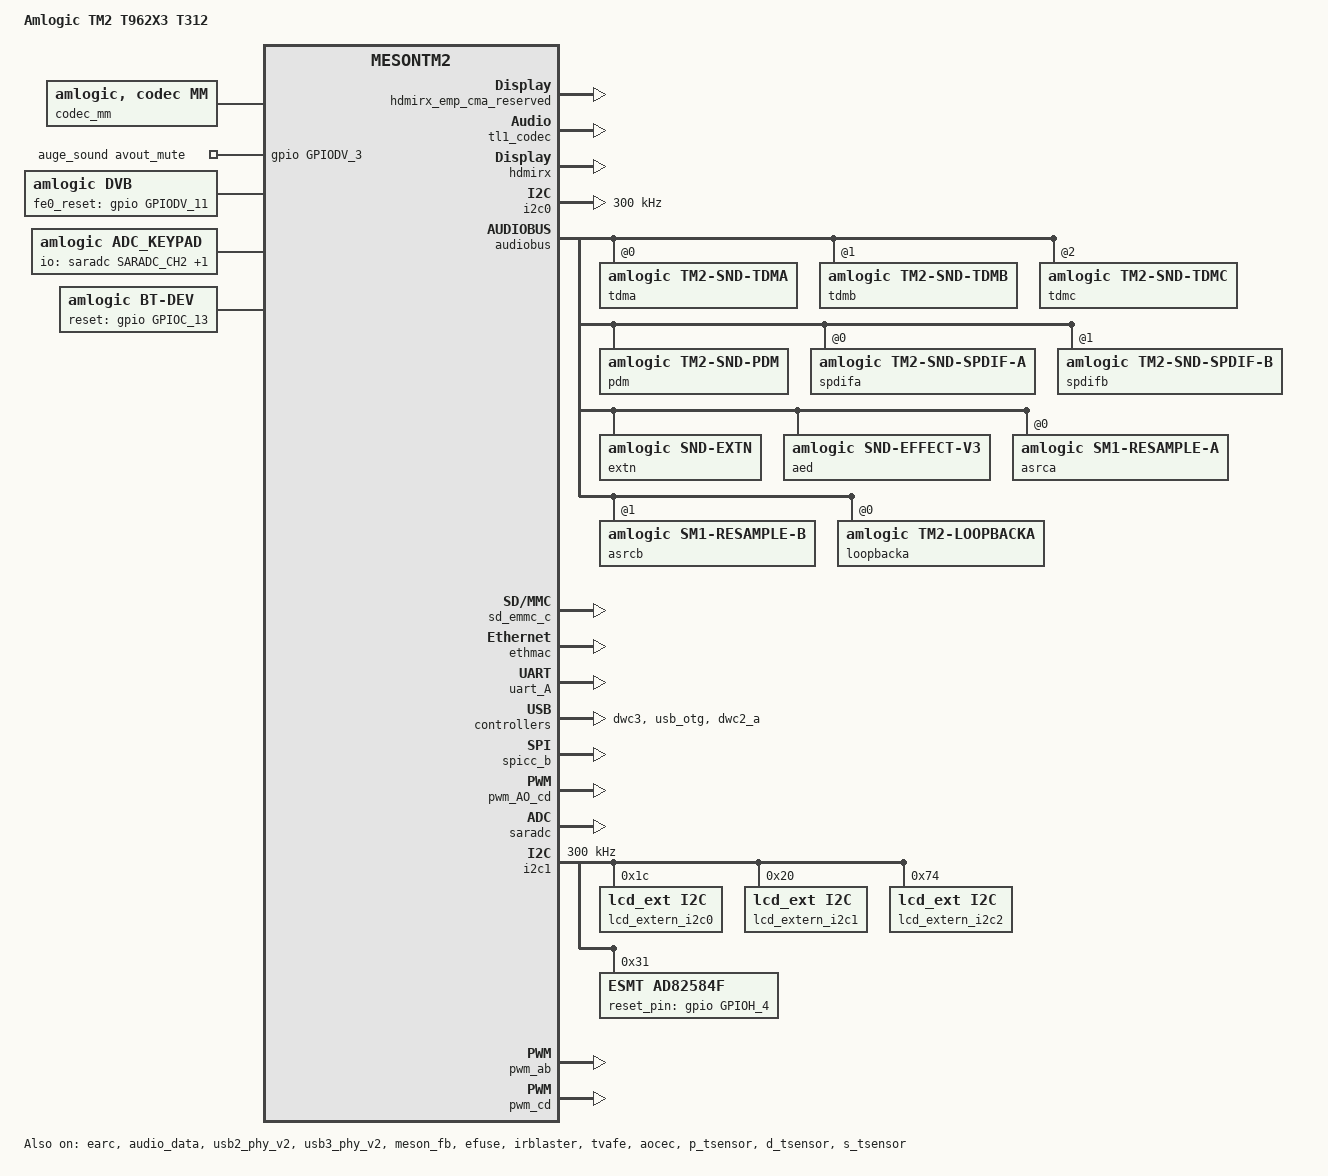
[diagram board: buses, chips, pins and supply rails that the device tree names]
/*
 * arch/arm/boot/dts/amlogic/tm2_t962x3_ab301.dts
 *
 * Copyright (C) 2017 Amlogic, Inc. All rights reserved.
 *
 * This program is free software; you can redistribute it and/or modify
 * it under the terms of the GNU General Public License as published by
 * the Free Software Foundation; either version 2 of the License, or
 * (at your option) any later version.
 *
 * This program is distributed in the hope that it will be useful, but WITHOUT
 * ANY WARRANTY; without even the implied warranty of MERCHANTABILITY or
 * FITNESS FOR A PARTICULAR PURPOSE.  See the GNU General Public License for
 * more details.
 *
 */

/dts-v1/;

#include "mesontm2.dtsi"
#include "partition_mbox_normal.dtsi"
#include "mesontm2_t962x3_t312-panel.dtsi"

/ {
	model = "Amlogic TM2 T962X3 T312";
	amlogic-dt-id = "tm2_t962x3_t312";
	compatible = "amlogic, tm2_t962x3_t312";

	aliases {
		serial0 = &uart_AO;
		serial1 = &uart_A;
		serial2 = &uart_B;
		serial3 = &uart_C;
		serial4 = &uart_AO_B;
		tsensor0 = &p_tsensor;
		tsensor1 = &d_tsensor;
		tsensor2 = &s_tsensor;
		i2c0 = &i2c0;
		i2c1 = &i2c1;
		i2c2 = &i2c2;
		i2c3 = &i2c3;
		i2c4 = &i2c_AO;
		spi0 = &spicc0;
		spi1 = &spicc_b;
	};

	memory@00000000 {
		device_type = "memory";
		linux,usable-memory = <0x0 0x80000000>;
	};

	reserved-memory {
		#address-cells = <1>;
		#size-cells = <1>;
		ranges;
		/* global autoconfigured region for contiguous allocations */
		ramoops@0x07400000 {
			compatible = "ramoops";
			reg = <0x07400000 0x00100000>;
			record-size = <0x8000>;
			console-size = <0x8000>;
			ftrace-size = <0x40000>;
		};

		secmon_reserved: linux,secmon {
			compatible = "shared-dma-pool";
			reusable;
			size = <0x400000>;
			alignment = <0x400000>;
			alloc-ranges = <0x05000000 0x400000>;
		};

		logo_reserved:linux,meson-fb {
			compatible = "shared-dma-pool";
			reusable;
			size = <0x800000>;
			alignment = <0x400000>;
			alloc-ranges = <0x7f800000 0x800000>;
		};

		lcd_tcon_reserved:linux,lcd_tcon {
			compatible = "shared-dma-pool";
			reusable;
			size = <0xc00000>;
			alignment = <0x400000>;
			alloc-ranges = <0x7ec00000 0xc00000>;
		};

		codec_mm_cma:linux,codec_mm_cma {
			compatible = "shared-dma-pool";
			reusable;
			/* ion_codec_mm max can alloc size 80M*/
			size = <0x13400000>;
			alignment = <0x400000>;
			linux,contiguous-region;
			alloc-ranges = <0x30000000 0x50000000>;
		};

		/* codec shared reserved */
		codec_mm_reserved:linux,codec_mm_reserved {
			compatible = "amlogic, codec-mm-reserved";
			size = <0x0>;
			alignment = <0x100000>;
			//no-map;
		};

		ion_cma_reserved:linux,ion-dev {
			compatible = "shared-dma-pool";
			reusable;
			size = <0x2000000>;
			alignment = <0x400000>;
		};

		/*  vdin0 CMA pool */
		//vdin0_cma_reserved:linux,vdin0_cma {
		//	compatible = "shared-dma-pool";
		//	reusable;
			/* 3840x2160x4x4 ~=128 M */
		//	size = <0xc400000>;
		//	alignment = <0x400000>;
		//};

		/*  vdin1 CMA pool */
		vdin1_cma_reserved:linux,vdin1_cma {
			compatible = "shared-dma-pool";
			reusable;
			/* 1920x1080x2x4  =16 M */
			size = <0x1400000>;
			alignment = <0x400000>;
		};

		/*demod_reserved:linux,demod {
		 *	compatible = "amlogic, demod-mem";
		 *	size = <0x800000>; //8M //100m 0x6400000
		 *	alloc-ranges = <0x0 0x30000000>;
		 *	//multi-use;
		 *	//no-map;
		 *};
		 */

		demod_cma_reserved:linux,demod_cma {
			compatible = "shared-dma-pool";
			reusable;
			/* 8M */
			size = <0x0800000>;
			alignment = <0x400000>;
		};

		/*di CMA pool */
		di_cma_reserved:linux,di_cma {
			compatible = "shared-dma-pool";
			reusable;
			/* buffer_size = 3621952(yuv422 8bit)
			 *  | 4736064(yuv422 10bit)
			 *  | 4074560(yuv422 10bit full pack mode)
			 * 10x3621952=34.6M(0x23) support 8bit
			 * 10x4736064=45.2M(0x2e) support 12bit
			 * 10x4074560=40M(0x28) support 10bit
			 */
			size = <0x02800000>;
			alignment = <0x400000>;
		};

		/* for hdmi rx emp use */
		hdmirx_emp_cma_reserved:linux,emp_cma {
			compatible = "shared-dma-pool";
			/*linux,phandle = <5>;*/
			reusable;
			/* 4M for emp to ddr */
			/* 32M for tmds to ddr */
			size = <0x400000>;
			alignment = <0x400000>;
			/* alloc-ranges = <0x400000 0x2000000>; */
		};

		/* POST PROCESS MANAGER */
		ppmgr_reserved:linux,ppmgr {
			compatible = "amlogic, ppmgr_memory";
			size = <0x0>;
		};

		picdec_cma_reserved:linux,picdec {
			compatible = "shared-dma-pool";
			reusable;
			size = <0x0>;
			alignment = <0x0>;
			linux,contiguous-region;
		};
		dsp_fw_reserved:linux,dsp_fw {
			compatible = "shared-dma-pool";
			reusable;
			size = <0x01000000>;
			alignment = <0x00400000>;
			alloc-ranges = <0x30000000 0x01000000>;
		};
	}; /* end of reserved-memory */
	galcore {
		status = "okay";
	};
	codec_mm {
		compatible = "amlogic, codec, mm";
		status = "okay";
		memory-region = <&codec_mm_cma &codec_mm_reserved>;
	};

	picdec {
		compatible = "amlogic, picdec";
		memory-region = <&picdec_cma_reserved>;
		dev_name = "picdec";
		status = "okay";
	};

	ppmgr {
		compatible = "amlogic, ppmgr";
		memory-region = <&ppmgr_reserved>;
		status = "okay";
	};

	deinterlace {
		compatible = "amlogic, deinterlace";
		status = "okay";
		/* 0:use reserved; 1:use cma; 2:use cma as reserved */
		flag_cma = <1>;
		//memory-region = <&di_reserved>;
		memory-region = <&di_cma_reserved>;
		interrupts = <0 46 1
				0 40 1>;
		interrupt-names = "pre_irq", "post_irq";
		clocks = <&clkc CLKID_VPU_CLKB_TMP_COMP>,
			<&clkc CLKID_VPU_CLKB_COMP>;
		clock-names = "vpu_clkb_tmp_composite",
			"vpu_clkb_composite";
		clock-range = <334 667>;
		/* buffer-size = <3621952>;(yuv422 8bit) */
		buffer-size = <4074560>;/*yuv422 fullpack*/
		/* reserve-iomap = "true"; */
		/* if enable nr10bit, set nr10bit-support to 1 */
		post-wr-support = <1>;
		nr10bit-support = <1>;
		nrds-enable = <1>;
		pps-enable = <1>;
	};

	vout {
		compatible = "amlogic, vout";
		status = "okay";
		fr_auto_policy = <0>;
	};

	/* Audio Related start */
	pdm_codec:dummy {
		#sound-dai-cells = <0>;
		compatible = "amlogic, pdm_dummy_codec";
		status = "okay";
	};

	dummy_codec:dummy {
		#sound-dai-cells = <0>;
		compatible = "amlogic, aml_dummy_codec";
		status = "okay";
	};

	tl1_codec:codec {
		#sound-dai-cells = <0>;
		compatible = "amlogic, tl1_acodec";
		status = "okay";
		reg = <0xff632000 0x1c>;
		tdmout_index = <0>;
		tdmin_index = <0>;
		dat1_ch_sel = <1>;
	};

	auge_sound {
		compatible = "amlogic, tm2-sound-card";
		aml-audio-card,name = "AML-AUGESOUND";

		avout_mute-gpios = <&gpio GPIODV_3 GPIO_ACTIVE_HIGH>;

		aml-audio-card,dai-link@0 {
			format = "i2s";
			mclk-fs = <256>;
			continuous-clock;
			//bitclock-inversion;
			//frame-inversion;
			/* master mode */
			bitclock-master = <&tdma>;
			frame-master = <&tdma>;
			/* slave mode */
			/*
			 * bitclock-master = <&tdmacodec>;
			 * frame-master = <&tdmacodec>;
			 */
			/* suffix-name, sync with android audio hal used for */
			suffix-name = "alsaPORT-i2s";
			tdmacpu: cpu {
				sound-dai = <&tdma>;
				dai-tdm-slot-tx-mask =
							<1 1>;
				dai-tdm-slot-rx-mask =
							<1 1>;
				dai-tdm-slot-num = <2>;
				dai-tdm-slot-width = <32>;
				system-clock-frequency = <12288000>;
			};
			tdmacodec: codec {
				//sound-dai = <&dummy_codec>;
				prefix-names = "AMP";
				sound-dai = <&ad82584f &tl1_codec>;
			};
		};

		aml-audio-card,dai-link@1 {
			format = "i2s";
			mclk-fs = <256>;
			//continuous-clock;
			//bitclock-inversion;
			//frame-inversion;
			/* master mode */
			bitclock-master = <&tdmb>;
			frame-master = <&tdmb>;
			/* slave mode */
			//bitclock-master = <&tdmbcodec>;
			//frame-master = <&tdmbcodec>;
			/* suffix-name, sync with android audio hal used for */
			suffix-name = "alsaPORT-pcm";
			cpu {
				sound-dai = <&tdmb>;
				dai-tdm-slot-tx-mask = <1 1>;
				dai-tdm-slot-rx-mask = <1 1>;
				dai-tdm-slot-num = <2>;
				/*
				 * dai-tdm-slot-tx-mask =
				 *	<1 1 1 1 1 1 1 1>;
				 * dai-tdm-slot-rx-mask =
				 *	<1 1 1 1 1 1 1 1>;
				 * dai-tdm-slot-num = <8>;
				 */
				dai-tdm-slot-width = <32>;
				system-clock-frequency = <12288000>;
			};
			tdmbcodec: codec {
				sound-dai = <&dummy_codec>;
			};
		};

		aml-audio-card,dai-link@2 {
			format = "i2s";
			mclk-fs = <256>;
			//continuous-clock;
			//bitclock-inversion;
			//frame-inversion;
			/* master mode */
			bitclock-master = <&tdmc>;
			frame-master = <&tdmc>;
			/* slave mode */
			//bitclock-master = <&tdmccodec>;
			//frame-master = <&tdmccodec>;
			/* suffix-name, sync with android audio hal used for */
			//suffix-name = "alsaPORT-tdm";
			cpu {
				sound-dai = <&tdmc>;
				dai-tdm-slot-tx-mask = <1 1>;
				dai-tdm-slot-rx-mask = <1 1>;
				dai-tdm-slot-num = <2>;
				dai-tdm-slot-width = <32>;
				system-clock-frequency = <12288000>;
			};
			tdmccodec: codec {
				sound-dai = <&dummy_codec>;
			};
		};

		aml-audio-card,dai-link@3 {
			mclk-fs = <64>;
			/* suffix-name, sync with android audio hal used for */
			suffix-name = "alsaPORT-pdm";
			cpu {
				sound-dai = <&pdm>;
			};
			codec {
				sound-dai = <&pdm_codec>;
			};
		};

		aml-audio-card,dai-link@4 {
			mclk-fs = <128>;
			continuous-clock;
			/* suffix-name, sync with android audio hal used for */
			suffix-name = "alsaPORT-spdif";
			cpu {
				sound-dai = <&spdifa>;
				system-clock-frequency = <6144000>;
			};
			codec {
				sound-dai = <&dummy_codec>;
			};
		};

		aml-audio-card,dai-link@5 {
			mclk-fs = <128>;
			suffix-name = "alsaPORT-spdifb";
			cpu {
				sound-dai = <&spdifb>;
				system-clock-frequency = <6144000>;
			};
			codec {
				sound-dai = <&dummy_codec>;
			};
		};

		aml-audio-card,dai-link@6 {
			mclk-fs = <256>;
			suffix-name = "alsaPORT-tv";
			cpu {
				sound-dai = <&extn>;
				system-clock-frequency = <12288000>;
			};
			codec {
				sound-dai = <&dummy_codec>;
			};
		};

		aml-audio-card,dai-link@7 {
			mclk-fs = <256>;
			suffix-name = "alsaPORT-earc";
			cpu {
				sound-dai = <&earc>;
				system-clock-frequency = <12288000>;
			};
			codec {
				sound-dai = <&dummy_codec>;
			};
		};

		aml-audio-card,dai-link@8 {
			mclk-fs = <256>;
			continuous-clock;
			suffix-name = "alsaPORT-loopback";
			cpu {
				sound-dai = <&loopbacka>;
				system-clock-frequency = <12288000>;
			};
			codec {
				sound-dai = <&dummy_codec>;
			};
		};
	};
	/* Audio Related end */

	dvb {
		compatible = "amlogic, dvb";
		dev_name = "dvb";
		status = "okay";
		fe0_mode = "external";
		fe0_demod = "Si2168";
		fe0_i2c_adap_id = <&i2c0>;
		fe0_demod_i2c_addr = <0x64>;
		fe0_ts = <0>;
		fe0_reset_value = <0>;
		fe0_reset_gpio = <&gpio GPIODV_11 GPIO_ACTIVE_HIGH>;

		/*"parallel","serial","disable"*/
		ts0 = "serial";
		ts0_control = <0x800>;
		ts0_invert = <0>;
		ts_out_invert = <1>;

		interrupts = <0 23 1
					0 5 1
					0 53 1
					0 19 1
					0 25 1
					0 18 1
					0 24 1>;
		interrupt-names = "demux0_irq",
						"demux1_irq",
						"demux2_irq",
						"dvr0_irq",
						"dvr1_irq",
						"dvr2_irq",
						"dvrfill0_fill",
						"dvrfill1_flush";
		pinctrl-names = "s_ts0";
		pinctrl-0 = <&dvb_s_ts0_pins>;
		clocks = <&clkc CLKID_DEMUX
			&clkc CLKID_ASYNC_FIFO
			&clkc CLKID_AHB_ARB0
			&clkc CLKID_U_PARSER>;
		clock-names = "demux", "asyncfifo", "ahbarb0", "uparsertop";
	};

	dvbci {
		compatible = "amlogic, dvbci";
		dev_name = "dvbci";
		io_type = <3>; /* 0=iobus,1=spi,2=cimax,3=spi-t312*/
		dvbci_io {
			/*mcu irq pin*/
			mcu_irq_pin = <&gpio GPIOH_9 GPIO_ACTIVE_HIGH>;
			/*below is spi config*/
		    /*if use iobus you need add iobus config below */
			spi_bus_num = <1>;
			spi_chip_select = <0>;
			spi_max_frequency = <300000>; /* unit: hz */
			spi_mode = <3>; /* mode: 0, 1, 2, 3 */
			spi_cs_delay = <10 100>; /*h delay, cs delay(unit:us)*/
			spi_write_check = <0>; /* 0=disable, 1=enable */
		};
	};

	tvafe_avin_detect {
		compatible = "amlogic, tm2_tvafe_avin_detect";
		status = "okay";
		device_mask = <1>;/*bit0:ch1;bit1:ch2*/
		interrupts = <0 12 1>,
				<0 13 1>;
	};

	amlvecm {
		compatible = "amlogic, vecm-tm2";
		dev_name = "aml_vecm";
		status = "okay";
		gamma_en = <1>;/*1:enabel ;0:disable*/
		wb_en = <1>;/*1:enabel ;0:disable*/
		cm_en = <0>;/*1:enabel ;0:disable*/
		wb_sel = <1>;/*1:mtx ;0:gainoff*/
		vlock_en = <1>;/*1:enable;0:disable*/
		vlock_mode = <0x4>;
		/* vlock work mode:
		 *bit0:auto ENC
		 *bit1:auto PLL
		 *bit2:manual PLL
		 *bit3:manual ENC
		 *bit4:manual soft ENC
		 *bit5:manual MIX PLL ENC
		 */
		 vlock_pll_m_limit = <1>;
		 vlock_line_limit = <3>;
	};

	amdolby_vision {
		compatible = "amlogic, dolby_vision_tm2";
		dev_name = "aml_amdolby_vision_driver";
		status = "okay";
		tv_mode = <1>;/*1:enabel ;0:disable*/
	};

	vdin@0 {
		compatible = "amlogic, vdin";
		/*memory-region = <&vdin0_cma_reserved>;*/
		status = "okay";
		/*bit0:(1:share with codec_mm;0:cma alone)
		 *bit8:(1:alloc in discontinus way;0:alone in continuous way)
		 */
		flag_cma = <0x101>;
		/*MByte, if 10bit disable: 64M(YUV422),
		 *if 10bit enable: 64*1.5 = 96M(YUV422)
		 *if support 4K2K-YUV444-10bit-WR:3840*2160*4*6 ~= 200M
		 *if support 4K2K-YUV422-10bit-wr:3840*2160*3*6 ~= 160M
		 *if support 4K2K-YUV422-8BIT-WR:3840*2160*2*4 ~= 64M
		 *if support 1080p-YUV422-8BIT-WR:1920*1080*2*4 ~= 16M
		 *worst case:(4096*2160*4 + 2M(afbce issue)) *6buf = 214.5M
		 */
		cma_size = <215>;
		interrupts = <0 83 1>;
		rdma-irq = <2>;
		clocks = <&clkc CLKID_FCLK_DIV5>,
			<&clkc CLKID_VDIN_MEAS_COMP>;
		clock-names = "fclk_div5", "cts_vdin_meas_clk";
		vdin_id = <0>;
		/*vdin write mem color depth support:
		 * bit0:support 8bit
		 * bit1:support 9bit
		 * bit2:support 10bit
		 * bit3:support 12bit
		 * bit4:support yuv422 10bit full pack mode (from txl new add)
		 * bit8:use 8bit  at 4k_50/60hz_10bit
		 * bit9:use 10bit at 4k_50/60hz_10bit
		 */
		tv_bit_mode = <0x215>;
		/* afbce_bit_mode: (amlogic frame buff compression encoder)
		 * bit0 -- enable afbce
		 * bit1 -- enable afbce compression-lossy
		 * bit4 -- afbce for 4k
		 * bit5 -- afbce for 1080p
		 * bit6 -- afbce for 720p
		 * bit7 -- afbce for smaller resolution
		 */
		afbce_bit_mode = <0x31>;
		/*urgent_en*/
	};

	vdin@1 {
		compatible = "amlogic, vdin";
		memory-region = <&vdin1_cma_reserved>;
		status = "okay";
		/*bit0:(1:share with codec_mm;0:cma alone)
		 *bit8:(1:alloc in discontinus way;0:alone in continuous way)
		 */
		flag_cma = <0>;
		interrupts = <0 85 1>;
		rdma-irq = <4>;
		clocks = <&clkc CLKID_FCLK_DIV5>,
			<&clkc CLKID_VDIN_MEAS_COMP>;
		clock-names = "fclk_div5", "cts_vdin_meas_clk";
		vdin_id = <1>;
		/*vdin write mem color depth support:
		 *bit0:support 8bit
		 *bit1:support 9bit
		 *bit2:support 10bit
		 *bit3:support 12bit
		 */
		tv_bit_mode = <0x15>;
		/*urgent_en*/
	};

	tvafe {
		compatible = "amlogic, tvafe-tm2";
		/*memory-region = <&tvafe_cma_reserved>;*/
		status = "okay";
		flag_cma = <1>;/*1:share with codec_mm;0:cma alone*/
		cma_size = <5>;/*MByte*/
		reg = <0xff654000 0x2000>;/*tvafe reg base*/
		reserve-iomap = "true";
		tvafe_id = <0>;
		//pinctrl-names = "default";
		/*!!particular sequence, no more and no less!!!*/
		tvafe_pin_mux = <
				3 /* TVAFE_CVBS_IN2, CVBS_IN0 = 0 */
				1 /* TVAFE_CVBS_IN0, CVBS_IN1 */
				2 /* TVAFE_CVBS_IN1, CVBS_IN2 */
				4 /* TVAFE_CVBS_IN3, CVBS_IN3 */
		>;
		clocks = <&clkc CLKID_DAC_CLK>;
		clock-names = "vdac_clk_gate";

		cutwindow_val_h = <0 10 18 20 62>; /* level 0~4 */
		cutwindow_val_v = <4  8 14 16 24>;  /* level 0~4 */
	};

	vbi {
		compatible = "amlogic, vbi";
		status = "okay";
		interrupts = <0 83 1>;
	};

	cvbsout {
		compatible = "amlogic, cvbsout-tm2";
		status = "disabled";
		clocks = <&clkc CLKID_VCLK2_ENCI
			&clkc CLKID_VCLK2_VENCI0
			&clkc CLKID_VCLK2_VENCI1
			&clkc CLKID_DAC_CLK>;
		clock-names = "venci_top_gate",
			"venci_0_gate",
			"venci_1_gate",
			"vdac_clk_gate";
		/* clk path */
		/* 0:vid_pll vid2_clk */
		/* 1:gp0_pll vid2_clk */
		/* 2:vid_pll vid1_clk */
		/* 3:gp0_pll vid1_clk */
		clk_path = <0>;

		/* performance: reg_address, reg_value */
		/* tm2 */
		performance = <0x1bf0  0x9
			0x1b56  0x333
			0x1b12  0x8080
			0x1b05  0xfd
			0x1c59  0xf850
			0xffff  0x0>; /* ending flag */
		performance_sarft = <0x1bf0  0x9
			0x1b56  0x333
			0x1b12  0x0
			0x1b05  0x9
			0x1c59  0xfc48
			0xffff  0x0>; /* ending flag */
		performance_revB_telecom = <0x1bf0  0x9
			0x1b56  0x546
			0x1b12  0x8080
			0x1b05  0x9
			0x1c59  0xf850
			0xffff  0x0>; /* ending flag */
	};

	/* for external keypad */
	adc_keypad {
		compatible = "amlogic, adc_keypad";
		status = "okay";
		key_name = "power","up","down","enter","left","right","home";
		key_num = <7>;
		io-channels = <&saradc SARADC_CH2>,<&saradc SARADC_CH3>;
		io-channel-names = "key-chan-2", "key-chan-3";
		key_chan = <SARADC_CH2 SARADC_CH2 SARADC_CH2 SARADC_CH2
			SARADC_CH2 SARADC_CH3 SARADC_CH3>;
		key_code = <116 103 108 28 105 106 102>;
		key_val = <0 143 266 389 512 143 266>; //val=voltage/1800mV*1023
		key_tolerance = <40 40 40 40 40 40 40>;
};

	unifykey {
		compatible = "amlogic, unifykey";
		status = "okay";

		unifykey-num = <21>;
		unifykey-index-0 = <&keysn_0>;
		unifykey-index-1 = <&keysn_1>;
		unifykey-index-2 = <&keysn_2>;
		unifykey-index-3 = <&keysn_3>;
		unifykey-index-4 = <&keysn_4>;
		unifykey-index-5 = <&keysn_5>;
		unifykey-index-6 = <&keysn_6>;
		unifykey-index-7 = <&keysn_7>;
		unifykey-index-8 = <&keysn_8>;
		unifykey-index-9 = <&keysn_9>;
		unifykey-index-10= <&keysn_10>;
		unifykey-index-11 = <&keysn_11>;
		unifykey-index-12 = <&keysn_12>;
		unifykey-index-13 = <&keysn_13>;
		unifykey-index-14 = <&keysn_14>;
		unifykey-index-15 = <&keysn_15>;
		unifykey-index-16 = <&keysn_16>;
		unifykey-index-17 = <&keysn_17>;
		unifykey-index-18 = <&keysn_18>;
		unifykey-index-19 = <&keysn_19>;
		unifykey-index-20 = <&keysn_20>;

		keysn_0: key_0{
			key-name = "usid";
			key-device = "normal";
			key-permit = "read","write","del";
		};
		keysn_1:key_1{
			key-name = "mac";
			key-device  = "normal";
			key-permit = "read","write","del";
		};
		keysn_2:key_2{
			key-name = "hdcp";
			key-device = "secure";
			key-type  = "sha1";
			key-permit = "read","write","del";
		};
		keysn_3:key_3{
			key-name = "secure_boot_set";
			key-device = "efuse";
			key-permit = "write";
		};
		keysn_4:key_4{
			key-name = "mac_bt";
			key-device = "normal";
			key-permit = "read","write","del";
			key-type  = "mac";
		};
		keysn_5:key_5{
			key-name = "mac_wifi";
			key-device = "normal";
			key-permit = "read","write","del";
			key-type  = "mac";
		};
		keysn_6:key_6{
			key-name = "hdcp2_tx";
			key-device = "normal";
			key-permit = "read","write","del";
		};
		keysn_7:key_7{
			key-name = "hdcp2_rx";
			key-device = "normal";
			key-permit = "read","write","del";
		};
		keysn_8:key_8{
			key-name = "widevinekeybox";
			key-device = "secure";
			key-type = "sha1";
			key-permit = "read","write","del";
		};
		keysn_9:key_9{
			key-name = "deviceid";
			key-device = "normal";
			key-permit = "read","write","del";
		};
		keysn_10:key_10{
			key-name = "hdcp22_fw_private";
			key-device = "secure";
			key-permit = "read","write","del";
		};
		keysn_11:key_11{
			key-name = "hdcp22_rx_private";
			key-device = "secure";
			key-permit = "read","write","del";
		};
		keysn_12:key_12{
			key-name = "hdcp22_rx_fw";
			key-device = "normal";
			key-permit = "read","write","del";
		};
		keysn_13:key_13{
			key-name = "hdcp14_rx";
			key-device = "normal";
			key-type  = "sha1";
			key-permit = "read","write","del";
		};
		keysn_14:key_14{
			key-name = "prpubkeybox";// PlayReady
			key-device = "secure";
			key-permit = "read","write","del";
		};
		keysn_15:key_15{
			key-name = "prprivkeybox";// PlayReady
			key-device = "secure";
			key-permit = "read","write","del";
		};
		keysn_16:key_16{
			key-name = "lcd";
			key-device = "normal";
			key-permit = "read","write","del";
		};
		keysn_17:key_17{
			key-name = "lcd_extern";
			key-device = "normal";
			key-permit = "read","write","del";
		};
		keysn_18:key_18{
			key-name = "backlight";
			key-device = "normal";
			key-permit = "read","write","del";
		};
		keysn_19:key_19{
			key-name = "lcd_tcon";
			key-device = "normal";
			key-permit = "read","write","del";
		};
		keysn_20:key_20{
			key-name = "attestationkeybox";// attestation key
			key-device = "secure";
			key-permit = "read","write","del";
		};
	}; /* End unifykey */

	amlvideo2_0 {
		compatible = "amlogic, amlvideo2";
		dev_name = "amlvideo2";
		status = "okay";
		amlvideo2_id = <0>;
		cma_mode = <1>;
	};

	amlvideo2_1 {
		compatible = "amlogic, amlvideo2";
		dev_name = "amlvideo2";
		status = "okay";
		amlvideo2_id = <1>;
		cma_mode = <1>;
	};

	hdmirx {
		compatible = "amlogic, hdmirx_tm2";
		#address-cells=<1>;
		#size-cells=<1>;
		memory-region = <&hdmirx_emp_cma_reserved>;
		status = "okay";
		pinctrl-names = "hdmirx_pins";
		pinctrl-0 = <&hdmirx_a_mux &hdmirx_b_mux
			&hdmirx_c_mux>;
		repeat = <0>;
		/* bit 4: tdr enable bit
		 * bit [3:0]: tdr level control
		 */
		term_lvl = <0x11>;
		interrupts = <0 41 IRQ_TYPE_LEVEL_HIGH>;
		clocks = <&clkc CLKID_HDMIRX_MODET_COMP>,
			   <&clkc CLKID_HDMIRX_CFG_COMP>,
			   <&clkc CLKID_HDMIRX_ACR_COMP>,
			   <&clkc CLKID_HDMIRX_METER_COMP>,
			   <&clkc CLKID_HDMIRX_AXI_COMP>,
			   <&xtal>,
			   <&clkc CLKID_FCLK_DIV5>,
			   <&clkc CLKID_FCLK_DIV7>,
			   <&clkc CLKID_HDCP22_SKP_COMP>,
			   <&clkc CLKID_HDCP22_ESM_COMP>;
		//	   <&clkc CLK_AUD_PLL2FS>,
		//	   <&clkc CLK_AUD_PLL4FS>,
		//	   <&clkc CLK_AUD_OUT>;
		clock-names = "hdmirx_modet_clk",
			"hdmirx_cfg_clk",
				"hdmirx_acr_ref_clk",
				"cts_hdmirx_meter_clk",
				"cts_hdmi_axi_clk",
				"xtal",
				"fclk_div5",
				"fclk_div7",
				"hdcp_rx22_skp",
				"hdcp_rx22_esm";
		//		"hdmirx_aud_pll2fs",
		//		"hdmirx_aud_pll4f",
		//		"clk_aud_out";
		hdmirx_id = <0>;
		en_4k_2_2k = <0>;
		hpd_low_cec_off = <1>;
		/* bit4: enable feature, bit3~0: port number */
		disable_port = <0x0>;
		/* MAP_ADDR_MODULE_CBUS */
		/* MAP_ADDR_MODULE_HIU */
		/* MAP_ADDR_MODULE_HDMIRX_CAPB3 */
		/* MAP_ADDR_MODULE_SEC_AHB */
		/* MAP_ADDR_MODULE_SEC_AHB2 */
		/* MAP_ADDR_MODULE_APB4 */
		/* MAP_ADDR_MODULE_TOP */
		reg = < 0x0 0x0
			0xff63C000 0x2000
			0xffe0d000 0x2000
			0x0 0x0
			0x0 0x0
			0x0 0x0
			0xff610000 0xa000>;
	};

	aocec: aocec {
		compatible = "amlogic, aocec-tm2";
		/*device_name = "aocec";*/
		status = "okay";
		vendor_name = "Amlogic"; /* Max Chars: 8	 */
		/* Refer to the following URL at:
		 * http://standards.ieee.org/develop/regauth/oui/oui.txt
		 */
		vendor_id = <0x000000>;
		product_desc = "TM2"; /* Max Chars: 16	  */
		cec_osd_string = "AML_TV"; /* Max Chars: 14    */
		port_num = <4>;
		ee_cec;
		/*cec_sel = <2>;*/
		arc_port_mask = <0x2>;
		output = <1>;	/*output port number*/
		interrupts = <0 203 1
					0 199 1>;
		interrupt-names = "hdmi_aocecb","hdmi_aocec";
		pinctrl-names = "default","hdmitx_aocecb","cec_pin_sleep";
		pinctrl-0=<&aoceca_mux>;
		pinctrl-1=<&aocecb_mux>;
		pinctrl-2=<&aoceca_mux>;
		reg = <0xFF80023c 0x4
			   0xFF800000 0x400>;
		reg-names = "ao_exit","ao";
	};

	p_tsensor: p_tsensor@ff634800 {
		compatible = "amlogic, r1p1-tsensor";
		status = "okay";
		reg = <0xff634800 0x50>,
			<0xff800268 0x4>;
		cal_type = <0x1>;
		cal_a = <324>;
		cal_b = <424>;
		cal_c = <3159>;
		cal_d = <9411>;
		rtemp = <115000>;
		interrupts = <0 35 0>;
		clocks = <&clkc CLKID_TS_CLK_COMP>; /* CLKID_TS_COMP>;*/
		clock-names = "ts_comp";
		#thermal-sensor-cells = <1>;
	};

	d_tsensor: d_tsensor@ff634c00 {
		compatible = "amlogic, r1p1-tsensor";
		status = "okay";
		reg = <0xff634c00 0x50>,
			<0xff800230 0x4>;
		cal_type = <0x1>;
		cal_a = <324>;
		cal_b = <424>;
		cal_c = <3159>;
		cal_d = <9411>;
		rtemp = <115000>;
		interrupts = <0 36 0>;
		clocks = <&clkc CLKID_TS_CLK_COMP>; /* CLKID_TS_COMP>;*/
		clock-names = "ts_comp";
		#thermal-sensor-cells = <1>;
	};

	s_tsensor: s_tsensor@ff635000 {
		compatible = "amlogic, r1p1-tsensor";
		status = "okay";
		reg = <0xff635000 0x50>,
			<0xff80026c 0x4>;
		cal_type = <0x1>;
		cal_a = <324>;
		cal_b = <424>;
		cal_c = <3159>;
		cal_d = <9411>;
		rtemp = <115000>;
		interrupts = <0 38 0>;
		clocks = <&clkc CLKID_TS_CLK_COMP>; /* CLKID_TS_COMP>;*/
		clock-names = "ts_comp";
		#thermal-sensor-cells = <1>;
	};

	meson_cooldev: meson-cooldev@0 {
		status = "okay";
		compatible = "amlogic, meson-cooldev";
		cooling_devices {
			cpufreq_cool_cluster0 {
				min_state = <1000000>;
				dyn_coeff = <140>;
				gpu_pp = <2>;
				cluster_id = <0>;
				node_name = "cpufreq_cool0";
				device_type = "cpufreq";
			};
			cpucore_cool_cluster0 {
				min_state = <1>;
				dyn_coeff = <0>;
				gpu_pp = <2>;
				cluster_id = <0>;
				node_name = "cpucore_cool0";
				device_type = "cpucore";
			};
			gpufreq_cool {
				min_state = <400>;
				dyn_coeff = <160>;
				gpu_pp = <2>;
				cluster_id = <0>;
				node_name = "gpufreq_cool0";
				device_type = "gpufreq";
			};
			gpucore_cool {
				min_state = <1>;
				dyn_coeff = <0>;
				gpu_pp = <2>;
				cluster_id = <0>;
				node_name = "gpucore_cool0";
				device_type = "gpucore";
			};
		};
		cpufreq_cool0:cpufreq_cool0 {
			#cooling-cells = <2>; /* min followed by max */
		};
		cpucore_cool0:cpucore_cool0 {
			#cooling-cells = <2>; /* min followed by max */
		};
		gpufreq_cool0:gpufreq_cool0 {
			#cooling-cells = <2>; /* min followed by max */
		};
		gpucore_cool0:gpucore_cool0 {
			#cooling-cells = <2>; /* min followed by max */
		};
	};/*meson cooling devices end*/

	thermal-zones {
		pll_thermal: pll_thermal {
			polling-delay = <1000>;
			polling-delay-passive = <100>;
			sustainable-power = <1230>;
			thermal-sensors = <&p_tsensor 0>;
			trips {
				pswitch_on: trip-point@0 {
					temperature = <60000>;
					hysteresis = <5000>;
					type = "passive";
				};
				pcontrol: trip-point@1 {
					temperature = <75000>;
					hysteresis = <5000>;
					type = "passive";
				};
				phot: trip-point@2 {
					temperature = <85000>;
					hysteresis = <5000>;
					type = "hot";
				};
				pcritical: trip-point@3 {
					temperature = <110000>;
					hysteresis = <1000>;
					type = "critical";
				};
			};
			cooling-maps {
				cpufreq_cooling_map {
					trip = <&pcontrol>;
					cooling-device = <&cpufreq_cool0 0 11>;
					contribution = <1024>;
				};
				cpucore_cooling_map {
					trip = <&pcontrol>;
					cooling-device = <&cpucore_cool0 0 4>;
					contribution = <1024>;
				};
				gpufreq_cooling_map {
					trip = <&pcontrol>;
					cooling-device = <&gpufreq_cool0 0 4>;
					contribution = <1024>;
				};
			};
		};
		ddr_thermal: ddr_thermal {
			polling-delay = <2000>;
			polling-delay-passive = <1000>;
			sustainable-power = <1230>;
			thermal-sensors = <&d_tsensor 1>;
			trips {
				dswitch_on: trip-point@0 {
					temperature = <60000>;
					hysteresis = <5000>;
					type = "passive";
				};
				dcontrol: trip-point@1 {
					temperature = <75000>;
					hysteresis = <5000>;
					type = "passive";
				};
				dhot: trip-point@2 {
					temperature = <85000>;
					hysteresis = <5000>;
					type = "hot";
				};
				dcritical: trip-point@3 {
					temperature = <110000>;
					hysteresis = <1000>;
					type = "critical";
				};
			};
		};
		sar_thermal: sar_thermal {
			polling-delay = <2000>;
			polling-delay-passive = <1000>;
			sustainable-power = <1230>;
			thermal-sensors = <&s_tsensor 2>;
			trips {
				sswitch_on: trip-point@0 {
					temperature = <60000>;
					hysteresis = <5000>;
					type = "passive";
				};
				scontrol: trip-point@1 {
					temperature = <75000>;
					hysteresis = <5000>;
					type = "passive";
				};
				shot: trip-point@2 {
					temperature = <85000>;
					hysteresis = <5000>;
					type = "hot";
				};
				scritical: trip-point@3 {
					temperature = <110000>;
					hysteresis = <1000>;
					type = "critical";
				};
			};
		};
	}; /*thermal zone end*/

	cpu_opp_table0: cpu_opp_table0 {
		compatible = "operating-points-v2";
		opp-shared;

		opp00 {
			opp-hz = /bits/ 64 <100000000>;
			opp-microvolt = <730000>;
		};
		opp01 {
			opp-hz = /bits/ 64 <250000000>;
			opp-microvolt = <730000>;
		};
		opp02 {
			opp-hz = /bits/ 64 <500000000>;
			opp-microvolt = <730000>;
		};
		opp03 {
			opp-hz = /bits/ 64 <667000000>;
			opp-microvolt = <750000>;
		};
		opp04 {
			opp-hz = /bits/ 64 <1000000000>;
			opp-microvolt = <770000>;
		};
		opp05 {
			opp-hz = /bits/ 64 <1200000000>;
			opp-microvolt = <780000>;
		};
		opp06 {
			opp-hz = /bits/ 64 <1404000000>;
			opp-microvolt = <790000>;
		};
		opp07 {
			opp-hz = /bits/ 64 <1500000000>;
			opp-microvolt = <800000>;
		};
		opp08 {
			opp-hz = /bits/ 64 <1608000000>;
			opp-microvolt = <810000>;
		};
		opp09 {
			opp-hz = /bits/ 64 <1704000000>;
			opp-microvolt = <850000>;
		};
		opp10 {
			opp-hz = /bits/ 64 <1800000000>;
			opp-microvolt = <900000>;
		};
		opp11 {
			opp-hz = /bits/ 64 <1908000000>;
			opp-microvolt = <950000>;
		};
	};

	cpufreq-meson {
		compatible = "amlogic, cpufreq-meson";
		pinctrl-names = "default";
		pinctrl-0 = <&pwm_ao_d_pins3>;
		status = "okay";
	};

	tuner: tuner {
		compatible = "amlogic, tuner";
		status = "okay";
		tuner0_i2c_addr = <0x60>;
		tuner1_i2c_addr = <0x62>;
	};

	bt-dev{
		compatible = "amlogic, bt-dev";
		status = "okay";
		gpio_reset = <&gpio       GPIOC_13       GPIO_ACTIVE_HIGH>;
	};

	wifi{
		compatible = "amlogic, aml_wifi";
		status = "disabled";
		interrupt_pin = <&gpio       GPIOC_12       GPIO_ACTIVE_HIGH>;
		irq_trigger_type = "GPIO_IRQ_LOW";
		dhd_static_buf;    //dhd_static_buf support
		power_on_pin = <&gpio       GPIOC_11       GPIO_ACTIVE_HIGH>;
		pinctrl-names = "default";
		pinctrl-0 = <&pwm_b_pins1>;
		pwm_config = <&wifi_pwm_conf>;
	};

	wifi_pwm_conf:wifi_pwm_conf{
		pwm_channel1_conf {
			pwms = <&pwm_ab MESON_PWM_1 30541 0>;
			duty-cycle = <15270>;
			times = <8>;
		};
		pwm_channel2_conf {
			pwms = <&pwm_ab MESON_PWM_3 30500 0>;
			duty-cycle = <15250>;
			times = <12>;
		};
	};

	sd_emmc_b: sdio@ffe05000 {
		status = "disabled";
		compatible = "amlogic, meson-mmc-tm2";
		reg = <0xffe05000 0x800>;
		interrupts = <0 190 4>;

		pinctrl-names = "sdio_all_pins",
			"sdio_clk_cmd_pins";
		pinctrl-0 = <&sdio_all_pins>;
		pinctrl-1 = <&sdio_clk_cmd_pins>;

		clocks = <&clkc CLKID_SD_EMMC_B>,
			<&clkc CLKID_SD_EMMC_B_P0_COMP>,
			<&clkc CLKID_FCLK_DIV2>,
			<&clkc CLKID_FCLK_DIV5>,
			<&xtal>;
		clock-names = "core", "clkin0", "clkin1", "clkin2", "xtal";

		bus-width = <4>;
		cap-sd-highspeed;
		cap-mmc-highspeed;
		max-frequency = <100000000>;
		disable-wp;
		sdio {
			pinname = "sdio";
			ocr_avail = <0x200080>; /**VDD voltage 3.3 ~ 3.4 */
			caps = "MMC_CAP_4_BIT_DATA",
				"MMC_CAP_MMC_HIGHSPEED",
				"MMC_CAP_SD_HIGHSPEED",
				"MMC_CAP_NONREMOVABLE", /**ptm debug */
				 "MMC_CAP_UHS_SDR12",
				 "MMC_CAP_UHS_SDR25",
				 "MMC_CAP_UHS_SDR50",
				 "MMC_CAP_UHS_SDR104",
				 "MMC_PM_KEEP_POWER",
				 "MMC_CAP_SDIO_IRQ";
			f_min = <400000>;
			f_max = <200000000>;
			max_req_size = <0x20000>; /**128KB*/
			card_type = <3>;
			/* 3:sdio device(ie:sdio-wifi),
			 * 4:SD combo (IO+mem) card
			 */
		};
	};

/*	sd_emmc_b: sd@ffe05000 {
 *		status = "okay";
 *		compatible = "amlogic, meson-mmc-tm2";
 *		reg = <0xffe05000 0x800>;
 *		interrupts = <0 190 1>;
 *
 *		pinctrl-names = "sd_all_pins",
 *			"sd_clk_cmd_pins",
 *			"sd_1bit_pins";
 *		pinctrl-0 = <&sd_all_pins>;
 *		pinctrl-1 = <&sd_clk_cmd_pins>;
 *		pinctrl-2 = <&sd_1bit_pins>;
 *
 *		clocks = <&clkc CLKID_SD_EMMC_B>,
 *			<&clkc CLKID_SD_EMMC_B_P0_COMP>,
 *			<&clkc CLKID_FCLK_DIV2>,
 *			<&clkc CLKID_FCLK_DIV5>,
 *			<&xtal>;
 *		clock-names = "core", "clkin0", "clkin1", "clkin2", "xtal";
 *
 *		bus-width = <4>;
 *		cap-sd-highspeed;
 *		cap-mmc-highspeed;
 *		max-frequency = <100000000>;
 *		disable-wp;
 *		sd {
 *			pinname = "sd";
 *			ocr_avail = <0x200080>;
 *			caps = "MMC_CAP_4_BIT_DATA",
 *				"MMC_CAP_MMC_HIGHSPEED",
 *				"MMC_CAP_SD_HIGHSPEED";
 *			f_min = <400000>;
 *			f_max = <200000000>;
 *			max_req_size = <0x20000>;
 *			no_sduart = <1>;
 *			gpio_dat3 = <&gpio GPIOC_3 GPIO_ACTIVE_HIGH>;
 *			jtag_pin = <&gpio GPIOC_1 GPIO_ACTIVE_HIGH>;
 *			gpio_cd = <&gpio GPIOC_10 GPIO_ACTIVE_HIGH>;
 *			card_type = <5>;
 *		};
 *	};
 */

}; /* end of / */

&i2c0 {
	status = "okay";
	clock-frequency = <300000>;
	pinctrl-names="default";
	pinctrl-0=<&i2c0_dv_pins>;
};

&audiobus {
	tdma:tdm@0 {
		compatible = "amlogic, tm2-snd-tdma";
		#sound-dai-cells = <0>;

		dai-tdm-lane-slot-mask-in = <1 0>;
		dai-tdm-lane-slot-mask-out = <1 1 1 1>;
		dai-tdm-clk-sel = <0>;

		clocks = <&clkaudio CLKID_AUDIO_MCLK_A
				&clkaudio CLKID_AUDIO_MCLK_PAD0
				&clkc CLKID_MPLL0
				&clkc CLKID_MPLL1
				&clkaudio CLKID_AUDIO_SPDIFOUT_A>;
		clock-names = "mclk", "mclk_pad", "clk_srcpll",
			"samesource_srcpll", "samesource_clk";

		pinctrl-names = "tdm_pins";
		pinctrl-0 = </*&tdma_mclk*/ &tdmout_a>;

		/*
		 * 0: tdmout_a;
		 * 1: tdmout_b;
		 * 2: tdmout_c;
		 * 3: spdifout;
		 * 4: spdifout_b;
		 */
		samesource_sel = <3>;

		/* In for ACODEC_ADC */
		acodec_adc = <1>;
		/*enable default mclk(12.288M), before extern codec start*/
		start_clk_enable = <1>;

		/*tdm clk tuning enable*/
		clk_tuning_enable = <1>;
		status = "okay";

		/* !!!For --TV platform-- ONLY */
		Channel_Mask {
			/*i2s has 4 pins, 8channel, mux output*/
			Spdif_samesource_Channel_Mask = "i2s_2/3";
		};
	};

	tdmb:tdm@1 {
		compatible = "amlogic, tm2-snd-tdmb";
		#sound-dai-cells = <0>;

		dai-tdm-lane-slot-mask-in = <1 0 0 0>;
		dai-tdm-lane-slot-mask-out = <1 0 0 0>;
		dai-tdm-clk-sel = <1>;

		clocks = <&clkaudio CLKID_AUDIO_MCLK_B
				&clkc CLKID_MPLL1>;
		clock-names = "mclk", "clk_srcpll";

		status = "okay";
	};

	tdmc:tdm@2 {
		compatible = "amlogic, tm2-snd-tdmc";
		#sound-dai-cells = <0>;

		dai-tdm-lane-slot-mask-in = <1 0 0 0>;
		dai-tdm-lane-slot-mask-out = <1 0 0 0>;
		dai-tdm-clk-sel = <2>;

		clocks = <&clkaudio CLKID_AUDIO_MCLK_C
				&clkc CLKID_MPLL2>;
		clock-names = "mclk", "clk_srcpll";

		pinctrl-names = "tdm_pins";
		pinctrl-0 = </*&tdmout_c &tdmin_c*/>;

		status = "okay";
	};

	tdmlb:tdm@3 {
		compatible = "amlogic, tm2-snd-tdmlb";
		#sound-dai-cells = <0>;

		dai-tdm-lane-lb-slot-mask-in = <1 0 0 0>;
		dai-tdm-clk-sel = <1>;

		clocks = <&clkaudio CLKID_AUDIO_MCLK_B
				&clkc CLKID_MPLL1>;
		clock-names = "mclk", "clk_srcpll";

		/*
		 * select tdmin_lb src;
		 * AXG
		 *  0: TDMOUTA
		 *  1: TDMOUTB
		 *  2: TDMOUTC
		 *  3: PAD_TDMINA
		 *  4: PAD_TDMINB
		 *  5: PAD_TDMINC
		 *
		 * G12A/G12B
		 *  0: TDMOUTA
		 *  1: TDMOUTB
		 *  2: TDMOUTC
		 *  3: PAD_TDMINA_DIN*
		 *  4: PAD_TDMINB_DIN*
		 *  5: PAD_TDMINC_DIN*
		 *  6: PAD_TDMINA_D*, oe pin
		 *  7: PAD_TDMINB_D*, oe pin
		 *
		 * TL1/SM1
		 *  0: TDMOUTA
		 *  1: TDMOUTB
		 *  2: TDMOUTC
		 *  3: PAD_TDMINA_DIN*
		 *  4: PAD_TDMINB_DIN*
		 *  5: PAD_TDMINC_DIN*
		 *  6: PAD_TDMINA_D*
		 *  7: PAD_TDMINB_D*
		 *  8: PAD_TDMINC_D*
		 *  9: HDMIRX_I2S
		 *  10: ACODEC_ADC
		 */
		lb-src-sel = <1>;

		status = "disabled";
	};

	pdm:pdm {
		compatible = "amlogic, tm2-snd-pdm";
		#sound-dai-cells = <0>;

		clocks = <&clkaudio CLKID_AUDIO_GATE_PDM
			&clkc CLKID_FCLK_DIV3
			&clkc CLKID_MPLL3
			&clkaudio CLKID_AUDIO_PDMIN0
			&clkaudio CLKID_AUDIO_PDMIN1>;
		clock-names = "gate",
			"sysclk_srcpll",
			"dclk_srcpll",
			"pdm_dclk",
			"pdm_sysclk";

		pinctrl-names = "pdm_pins";
		pinctrl-0 = </*&pdmin*/>;

		/* mode 0~4, defalut:1 */
		filter_mode = <1>;

		status = "okay";
	};

	spdifa:spdif@0 {
		compatible = "amlogic, tm2-snd-spdif-a";
		#sound-dai-cells = <0>;

		clocks = <&clkc CLKID_MPLL1
				&clkc CLKID_FCLK_DIV4
				&clkaudio CLKID_AUDIO_GATE_SPDIFIN
				&clkaudio CLKID_AUDIO_GATE_SPDIFOUT_A
				&clkaudio CLKID_AUDIO_SPDIFIN
				&clkaudio CLKID_AUDIO_SPDIFOUT_A>;
		clock-names = "sysclk", "fixed_clk", "gate_spdifin",
				"gate_spdifout", "clk_spdifin", "clk_spdifout";

		interrupts =
				<GIC_SPI 151 IRQ_TYPE_EDGE_RISING>;
		interrupt-names = "irq_spdifin";

		pinctrl-names = "spdif_pins",
				"spdif_pins_mute";

		pinctrl-0 = <&spdifout_a>;
		pinctrl-1 = <&spdifout_a_mute>;

		/*
		 * whether do asrc for pcm and resample a or b
		 * if raw data, asrc is disabled automatically
		 * 0: "Disable",
		 * 1: "Enable:32K",
		 * 2: "Enable:44K",
		 * 3: "Enable:48K",
		 * 4: "Enable:88K",
		 * 5: "Enable:96K",
		 * 6: "Enable:176K",
		 * 7: "Enable:192K",
		 */
		asrc_id = <0>;
		auto_asrc = <0>;

		/*spdif clk tuning enable*/
		clk_tuning_enable = <1>;
		status = "okay";
	};

	spdifb:spdif@1 {
		compatible = "amlogic, tm2-snd-spdif-b";
		#sound-dai-cells = <0>;

		clocks = <&clkc CLKID_MPLL0 /*CLKID_HIFI_PLL*/
				&clkaudio CLKID_AUDIO_GATE_SPDIFOUT_B
				&clkaudio CLKID_AUDIO_SPDIFOUT_B>;
		clock-names = "sysclk",
				"gate_spdifout", "clk_spdifout";

		status = "okay";
	};

	extn:extn {
		compatible = "amlogic, snd-extn";
		#sound-dai-cells = <0>;

		interrupts =
				<GIC_SPI 158 IRQ_TYPE_EDGE_RISING>;
		interrupt-names = "irq_frhdmirx";

		status = "okay";
	};

	aed:effect {
		compatible = "amlogic, snd-effect-v3";
		#sound-dai-cells = <0>;

		clocks = <&clkaudio CLKID_AUDIO_GATE_EQDRC
			&clkc CLKID_FCLK_DIV5
			&clkaudio CLKID_AUDIO_EQDRC>;
		clock-names = "gate", "srcpll", "eqdrc";

		/*
		 * 0:tdmout_a
		 * 1:tdmout_b
		 * 2:tdmout_c
		 * 3:spdifout
		 * 4:spdifout_b
		 */
		eqdrc_module = <0>;
		/* max 0xf, each bit for one lane, usually one lane */
		lane_mask = <0x1>;
		/* max 0xff, each bit for one channel */
		channel_mask = <0xff>;

		status = "okay";
	};

	asrca: resample@0 {
		compatible = "amlogic, sm1-resample-a";
		clocks = <&clkc CLKID_MPLL0
			&clkaudio CLKID_AUDIO_MCLK_A
			&clkaudio CLKID_AUDIO_RESAMPLE_A>;
		clock-names = "resample_pll", "resample_src", "resample_clk";

		/*same with toddr_src
		 *	TDMIN_A,    0
		 *	TDMIN_B,    1
		 *	TDMIN_C,    2
		 *	SPDIFIN,    3
		 *	PDMIN,      4
		 *	FRATV,      5
		 *	TDMIN_LB,   6
		 *	LOOPBACK_A, 7
		 *	FRHDMIRX,   8
		 *	LOOPBACK_B, 9
		 *	SPDIFIN_LB, 10
		 *	EARC_RX,    11
		 */
		resample_module = <8>;

		status = "okay";
	};

	asrcb: resample@1 {
		compatible = "amlogic, sm1-resample-b";
		clocks = <&clkc CLKID_MPLL3
			&clkaudio CLKID_AUDIO_MCLK_F
			&clkaudio CLKID_AUDIO_RESAMPLE_B>;
		clock-names = "resample_pll", "resample_src", "resample_clk";

		/*this resample is only used for loopback_A.*/
		/*only support 16000 or 48000Hz for capture*/
		capture_sample_rate = <16000>;

		status = "okay";
	};

	vad:vad {
		compatible = "amlogic, snd-vad";
		#sound-dai-cells = <0>;

		clocks = <&clkaudio CLKID_AUDIO_GATE_TOVAD
			&clkc CLKID_FCLK_DIV5
			&clkaudio CLKID_AUDIO_VAD>;
		clock-names = "gate", "pll", "clk";

		interrupts = <GIC_SPI 155 IRQ_TYPE_EDGE_RISING
				GIC_SPI 47 IRQ_TYPE_EDGE_RISING>;
		interrupt-names = "irq_wakeup", "irq_frame_sync";

		/*
		 * Data src sel:
		 * 0: tdmin_a;
		 * 1: tdmin_b;
		 * 2: tdmin_c;
		 * 3: spdifin;
		 * 4: pdmin;
		 * 5: loopback_b;
		 * 6: tdmin_lb;
		 * 7: loopback_a;
		 */
		src = <4>;

		/*
		 * deal with hot word in user space or kernel space
		 * 0: in user space
		 * 1: in kernel space
		 */
		level = <1>;

		status = "disabled";
	};

	loopbacka:loopback@0 {
		compatible = "amlogic, tm2-loopbacka";
		#sound-dai-cells = <0>;

		clocks = <&clkaudio CLKID_AUDIO_GATE_PDM
			&clkc CLKID_FCLK_DIV3
			&clkc CLKID_MPLL3
			&clkaudio CLKID_AUDIO_PDMIN0
			&clkaudio CLKID_AUDIO_PDMIN1
			&clkc CLKID_MPLL0
			&clkaudio CLKID_AUDIO_MCLK_A>;
		clock-names = "pdm_gate",
			"pdm_sysclk_srcpll",
			"pdm_dclk_srcpll",
			"pdm_dclk",
			"pdm_sysclk",
			"tdminlb_mpll",
			"tdminlb_mclk";

		/* datain src
		 * 0: tdmin_a;
		 * 1: tdmin_b;
		 * 2: tdmin_c;
		 * 3: spdifin;
		 * 4: pdmin;
		 */
		datain_src = <4>;
		datain_chnum = <4>;
		datain_chmask = <0xf>;
		/* config which data pin for loopback */
		datain-lane-mask-in = <1 0 1 0>;

		/* calc mclk for datalb */
		mclk-fs = <256>;

		/* tdmin_lb src
		 * 0: tdmoutA
		 * 1: tdmoutB
		 * 2: tdmoutC
		 * 3: PAD_TDMINA_DIN*, refer to core pinmux
		 * 4: PAD_TDMINB_DIN*, refer to core pinmux
		 * 5: PAD_TDMINC_DIN*, refer to core pinmux
		 * 6: PAD_TDMINA_D*, oe, refer to core pinmux
		 * 7: PAD_TDMINB_D*, oe, refer to core pinmux
		 */
		/* if tdmin_lb >= 3, use external loopback */
		datalb_src = <0>;
		datalb_chnum = <2>;
		datalb_chmask = <0x3>;
		/* config which data pin as loopback */
		datalb-lane-mask-in = <1 0 0 0>;

		status = "okay";
	};

	loopbackb:loopback@1 {
		compatible = "amlogic, tm2-loopbackb";
		#sound-dai-cells = <0>;

		clocks = <&clkaudio CLKID_AUDIO_GATE_PDM
			&clkc CLKID_FCLK_DIV3
			&clkc CLKID_MPLL3
			&clkaudio CLKID_AUDIO_PDMIN0
			&clkaudio CLKID_AUDIO_PDMIN1
			&clkc CLKID_MPLL0
			&clkaudio CLKID_AUDIO_MCLK_A>;
		clock-names = "pdm_gate",
			"pdm_sysclk_srcpll",
			"pdm_dclk_srcpll",
			"pdm_dclk",
			"pdm_sysclk",
			"tdminlb_mpll",
			"tdminlb_mclk";

		/* calc mclk for datain_lb */
		mclk-fs = <256>;

		/* datain src
		 * 0: tdmin_a;
		 * 1: tdmin_b;
		 * 2: tdmin_c;
		 * 3: spdifin;
		 * 4: pdmin;
		 */
		datain_src = <4>;
		datain_chnum = <4>;
		datain_chmask = <0xf>;
		/* config which data pin for loopback */
		datain-lane-mask-in = <1 0 1 0>;

		/* tdmin_lb src
		 * 0: tdmoutA
		 * 1: tdmoutB
		 * 2: tdmoutC
		 * 3: PAD_TDMINA_DIN*, refer to core pinmux
		 * 4: PAD_TDMINB_DIN*, refer to core pinmux
		 * 5: PAD_TDMINC_DIN*, refer to core pinmux
		 * 6: PAD_TDMINA_D*, oe, refer to core pinmux
		 * 7: PAD_TDMINB_D*, oe, refer to core pinmux
		 */
		/* if tdmin_lb >= 3, use external loopback */
		datalb_src = <1>;
		datalb_chnum = <2>;
		datalb_chmask = <0x3>;
		/* config which data pin as loopback */
		datalb-lane-mask-in = <1 0 0 0>;

		status = "disabled";
	};
}; /* end of audiobus */

&earc {
	status = "okay";
};

&pinctrl_periphs {
	/* audio pin mux */

	tdma_mclk: tdma_mclk {
		mux { /* GPIOH_4 */
			groups = "mclk0_h";
			function = "mclk0";
		};
	};

	tdmout_a: tdmout_a {
		mux { /* GPIOH_5, GPIOH_6, GPIOH_7*/
			groups = "tdma_sclk_h",
				"tdma_fs_h",
				"tdma_dout0_h";
			function = "tdma_out";
			bias-pull-down;
		};
	};

	tdmin_a: tdmin_a {
		mux { /* GPIOH_11, GPIOH_12 */
			groups = "tdma_din0_h",
			    "tdma_din1_h";
			function = "tdma_in";
		};
	};

	tdmout_c: tdmout_c {
		mux { /* GPIODV_7, GPIODV_8, GPIODV_9 */
			groups = "tdmc_sclk",
				"tdmc_fs",
				"tdmc_dout0";
			function = "tdmc_out";
		};
	};

	tdmin_c: tdmin_c {
		mux { /* GPIODV_10 */
			groups = "tdmc_din1";
			function = "tdmc_in";
		};
	};

	spdifin_a: spdifin_a {
		mux { /* GPIODV_5 */
			groups = "spdif_in";
			function = "spdif_in";
		};
	};

	spdifout_a: spdifout_a {
		mux { /* GPIODV_4 */
			groups = "spdif_out_dv4";
			function = "spdif_out";
		};
	};

	spdifout_a_mute: spdifout_a_mute {
		mux { /* GPIODV_4 */
			groups = "GPIODV_4";
			function = "gpio_periphs";
		};
	};

	pdmin: pdmin {
		mux { /* GPIOZ_7, GPIOZ_8, pdm_din2_z4 */
			groups = "pdm_dclk_z",
				"pdm_din0_z",
				"pdm_din2_z4";
			function = "pdm";
		};
	};

	/*backlight*/
	bl_pwm_vs_on_pins:bl_pwm_vs_on_pin {
		mux {
			groups = "pwm_vs_z5";
			function = "pwm_vs";
		};
	};
	bl_pwm_off_pins:bl_pwm_off_pin {
		mux {
			groups = "GPIOZ_5";
			function = "gpio_periphs";
			output-low;
		};
	};
	bl_pwm_combo_0_vs_on_pins:bl_pwm_combo_0_vs_on_pin {
		mux {
			groups = "pwm_vs_z5";
			function = "pwm_vs";
		};
	};
	bl_pwm_combo_1_vs_on_pins:bl_pwm_combo_1_vs_on_pin {
		mux {
			groups = "pwm_vs_z6";
			function = "pwm_vs";
		};
	};
	bl_pwm_combo_off_pins:bl_pwm_combo_off_pin {
		mux {
			groups = "GPIOZ_5",
				"GPIOZ_6";
			function = "gpio_periphs";
			output-low;
		};
	};
	dvb_s_ts0_pins: dvb_s_ts0_pins {
		mux {
			groups = "tsin_a_din0",
			"tsin_a_clk",
			"tsin_a_sop",
			"tsin_a_valid";
			function = "tsin_a";
		};
	};
}; /* end of pinctrl_periphs */

&pinctrl_aobus {
	spdifout: spdifout {
		mux { /* gpiao_10 */
			groups = "spdif_out_ao";
			function = "spdif_out_ao";
		};
	};
};  /* end of pinctrl_aobus */

&audio_data{
	status = "okay";
};






&sd_emmc_c {
	status = "okay";
	emmc {
		caps = "MMC_CAP_8_BIT_DATA",
			 "MMC_CAP_MMC_HIGHSPEED",
			 "MMC_CAP_SD_HIGHSPEED",
			 "MMC_CAP_NONREMOVABLE",
			 "MMC_CAP_1_8V_DDR",
			 "MMC_CAP_HW_RESET",
			 "MMC_CAP_ERASE",
			 "MMC_CAP_CMD23";
		caps2 = "MMC_CAP2_HS200", "MMC_CAP2_HS400";
		f_min = <400000>;
		f_max = <200000000>;
	};
};



&spifc {
	status = "disabled";
	spi-nor@0 {
		cs_gpios = <&gpio BOOT_13 GPIO_ACTIVE_HIGH>;
	};
};

&slc_nand {
	status = "disabled";
	plat-names = "bootloader", "nandnormal";
	plat-num = <2>;
	plat-part-0 = <&bootloader>;
	plat-part-1 = <&nandnormal>;
	bootloader: bootloader{
		enable_pad = "ce0";
		busy_pad = "rb0";
		timming_mode = "mode5";
		bch_mode = "bch8_1k";
		t_rea = <20>;
		t_rhoh = <15>;
		chip_num = <1>;
		part_num = <0>;
		rb_detect = <1>;
	};
	nandnormal: nandnormal{
		enable_pad = "ce0";
		busy_pad = "rb0";
		timming_mode = "mode5";
		bch_mode = "bch8_1k";
		plane_mode = "twoplane";
		t_rea = <20>;
		t_rhoh = <15>;
		chip_num = <2>;
		part_num = <3>;
		partition = <&nand_partitions>;
		rb_detect = <1>;
	};
	nand_partitions:nand_partition{
		/*
		 * if bl_mode is 1, tpl size was generate by
		 * fip_copies * fip_size which
		 * will not skip bad when calculating
		 * the partition size;
		 *
		 * if bl_mode is 0,
		 * tpl partition must be comment out.
		 */
		tpl{
			offset=<0x0 0x0>;
			size=<0x0 0x0>;
		};
		logo{
			offset=<0x0 0x0>;
			size=<0x0 0x200000>;
		};
		recovery{
			offset=<0x0 0x0>;
			size=<0x0 0x1000000>;
		};
		boot{
			offset=<0x0 0x0>;
			size=<0x0 0x1000000>;
		};
		system{
			offset=<0x0 0x0>;
			size=<0x0 0x4000000>;
		};
		data{
			offset=<0xffffffff 0xffffffff>;
			size=<0x0 0x0>;
		};
	};
};

&ethmac {
	status = "okay";
	pinctrl-names = "internal_eth_pins", "internal_gpio_pins";
	pinctrl-0 = <&internal_eth_pins>;
	pinctrl-1 = <&internal_gpio_pins>;
	mc_val = <0x49e04>;

	internal_phy=<1>;
};

&uart_A {
	status = "okay";
};

&dwc3 {
	status = "okay";
};

&usb2_phy_v2 {
	status = "okay";
	portnum = <3>;
};

&usb3_phy_v2 {
	status = "okay";
	portnum = <2>;
	portconfig-30 = <1>;
	portconfig-31 = <1>;
};

&usb_otg {
	status = "okay";
	otg = <0>;
};

&dwc2_a {
	status = "okay";
	/** 0: normal, 1: otg+dwc3 host only, 2: otg+dwc3 device only*/
	controller-type = <1>;
};

&pcie_A {
	reset-gpio = <&gpio_ao GPIOAO_4 GPIO_ACTIVE_HIGH>;
	status = "disable";
};

&pcie_B {
	/* ab311 only pcie a, no pcie b */
	status = "disable";
};

&spicc0 {
	status = "disable";
	pinctrl-names = "default";
	pinctrl-0 = <&spicc0_pins_h>;
	cs-gpios = <&gpio GPIOH_20 0>;
};

&spicc1 {
	status = "disable";
	pinctrl-names = "default";
	pinctrl-0 = <&spicc1_pins_h>;
	cs-gpios = <&gpio GPIOH_0 0>;
};

&spicc_b {
	status = "okay";
	pinctrl-names= "default";
	pinctrl-0=<&spicc1_pins_h>;
	num_chipselect = <1>;
	cs-gpios = <&gpio GPIOH_0 GPIO_ACTIVE_HIGH>;
};

&meson_fb {
	status = "okay";
	display_size_default = <1920 1080 1920 2160 32>;
	mem_size = <0x00800000 0x1980000 0x100000 0x100000 0x800000>;
	logo_addr = "0x7f800000";
	mem_alloc = <0>;
	pxp_mode = <0>; /** 0:normal mode 1:pxp mode */
};

&pwm_AO_cd {
	status = "okay";
};

&saradc {
	status = "okay";
};

&i2c1 {
	status = "okay";
	clock-frequency = <300000>;
	pinctrl-names="default";
	pinctrl-0=<&i2c1_h_pins>;

	lcd_extern_i2c0: lcd_extern_i2c@0 {
		compatible = "lcd_ext, i2c";
		dev_name = "i2c_T5800Q";
		reg = <0x1c>;
		status = "okay";
	};

	lcd_extern_i2c1: lcd_extern_i2c@1 {
		compatible = "lcd_ext, i2c";
		dev_name = "i2c_ANX6862";
		reg = <0x20>;
		status = "okay";
	};

	lcd_extern_i2c2: lcd_extern_i2c@2 {
		compatible = "lcd_ext, i2c";
		dev_name = "i2c_ANX7911";
		reg = <0x74>;
		status = "okay";
	};
	ad82584f: ad82584f@62 {
		compatible = "ESMT, ad82584f";
		#sound-dai-cells = <0>;
		reg = <0x31>;
		status = "okay";
		reset_pin = <&gpio GPIOH_4 0>;
		no_mclk;
	};
};

&pwm_ab {
	status = "okay";
};

&pwm_cd {
	status = "okay";
};

&efuse {
	status = "okay";
};

&irblaster {
	pinctrl-names = "default";
	pinctrl-0 = <&irblaster_pins>;
	status = "okay";
};
